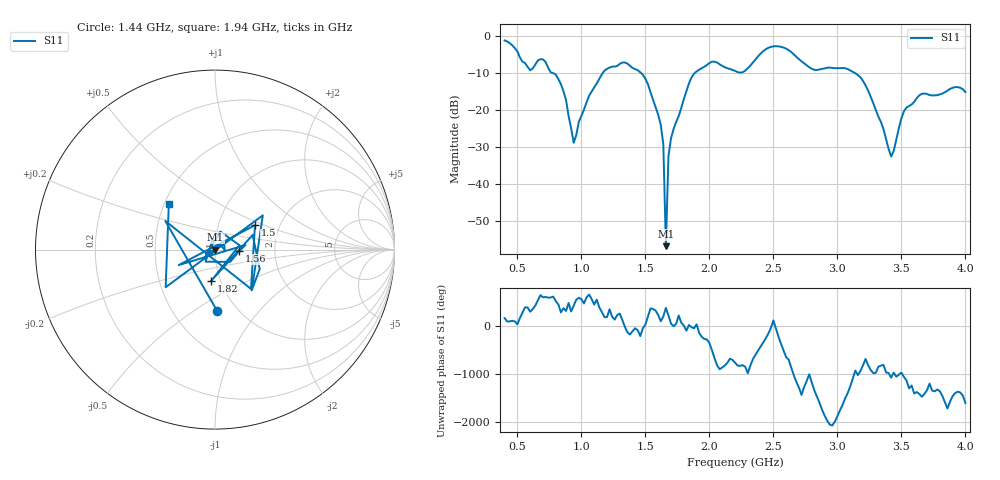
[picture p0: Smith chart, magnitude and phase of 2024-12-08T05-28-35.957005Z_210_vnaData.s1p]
!Created with skrf (http://scikit-rf.org).
# Hz S RI R 50.0
!freq ReS11 ImS11
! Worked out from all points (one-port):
!   181 points, 400 MHz to 4 GHz, reference 50 ohm
!   lowest |S11| = -56.8 dB at 1.66 GHz (marker M1), VSWR 1.00, Z = 50.1 + j0.0501 ohm
!   |S11| at or under -10 dB: 766.8 MHz to 1.169 GHz (402.1 MHz wide, 41.5 % of centre); 1.463 GHz to 1.89 GHz (426.7 MHz wide, 25.5 % of centre); 3.131 GHz to end of sweep (the widest 3 of 4)
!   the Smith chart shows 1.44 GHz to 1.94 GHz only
!   S11 on the Smith chart (normalised r, x): 1.44 GHz: 0.81, -0.62; 1.5 GHz: 1.50, +0.44; 1.56 GHz: 1.31, -0.02; 1.82 GHz: 0.90, -0.33; 1.94 GHz: 0.53, +0.31
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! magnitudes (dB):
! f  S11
! 400 MHz  -1.3
! 600 MHz  -9.4
! 700 MHz  -6.4
! 860 MHz  -15.0
! 940 MHz  -28.9
! 1.06 GHz  -16.2
! 1.18 GHz  -9.5
! 1.3 GHz  -7.6
! 1.44 GHz  -9.3
! 1.5 GHz  -11.7
! 1.56 GHz  -17.3
! 1.64 GHz  -29.3
! 1.66 GHz  -56.8
! 1.68 GHz  -32.6
! 1.76 GHz  -21.7
! 1.82 GHz  -15.1
! 1.94 GHz  -8.8
! 2.2 GHz  -9.5
! 2.48 GHz  -3.1
! 2.66 GHz  -5.1
! 2.82 GHz  -9.3
! 3.1 GHz  -9.4
! 3.24 GHz  -14.8
! 3.42 GHz  -32.6
! 3.5 GHz  -22.3
! 3.56 GHz  -19.0
! 3.66 GHz  -15.7
! 4 GHz  -15.2
